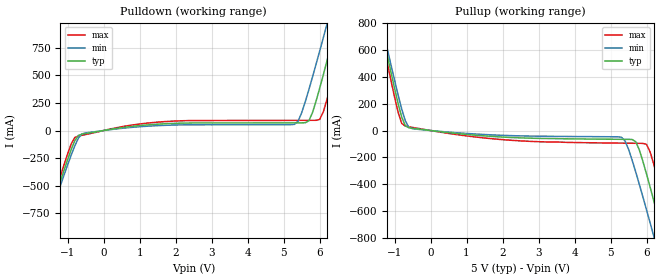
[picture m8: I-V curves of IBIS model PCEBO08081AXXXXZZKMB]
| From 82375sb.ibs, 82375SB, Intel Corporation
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[Model]   PCEBO08081AXXXXZZKMB
Model_type   Output
|   typ   min   max
C_comp   1.50pF   0.81pF   2.79pF
[Voltage range]   5.000V   4.750V   5.250V
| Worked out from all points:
|   slope of the pulldown table from 0 to 0.75 V, typ, clamps not added: 20.8 ohm
|   slope of the pullup table from 0 to 0.75 V, typ, clamps not added: 33 ohm
[Pulldown]
|   Voltage   I(typ)   I(min)   I(max)
-5V       -4.47A     -4.31A     -4.64A
-2V       -1.29A     -1.28A     -1.28A
-1.5V     -765.4mA   -789.6mA   -735.7mA
-900mV    -171.4mA   -221.7mA   -121.1mA
-600mV    -32.59mA   -30.56mA   -42.68mA
5.3V      69.78mA    56mA       92.36mA
5.7V      88.44mA    371.1mA    92.62mA
6V        383.5mA    721mA      100.9mA
6.2V      628.8mA    961.8mA    277.9mA
6.5V      1.01A      1.33A      661.1mA
7V        1.66A      1.95A      1.34A
10V       5.61A      5.7A       5.49A
[Pullup]
|   Voltage   I(typ)   I(min)   I(max)
-5V       5.54A      5.33A      5.74A
-1.4V     812.6mA    848.7mA    769.7mA
-900mV    201.6mA    264.8mA    135.9mA
-700mV    35.17mA    72.27mA    32.6mA
-500mV    16.97mA    13.29mA    23.02mA
5.3V      -65.5mA    -49.77mA   -94.08mA
5.7V      -83.45mA   -310.1mA   -95.22mA
6V        -325.4mA   -593mA     -103.8mA
6.2V      -523.8mA   -787.5mA   -250.6mA
6.5V      -831.5mA   -1.08A     -560.8mA
7V        -1.35A     -1.58A     -1.11A
10V       -4.55A     -4.61A     -4.46A
[Ramp]
|   typ   min   max
dV/dt_r   1.59V/1.16ns   1.28V/1.34ns   1.95V/978.84ps
dV/dt_f   1.88V/1.34ns   1.55V/1.43ns   2.21V/1.16ns
